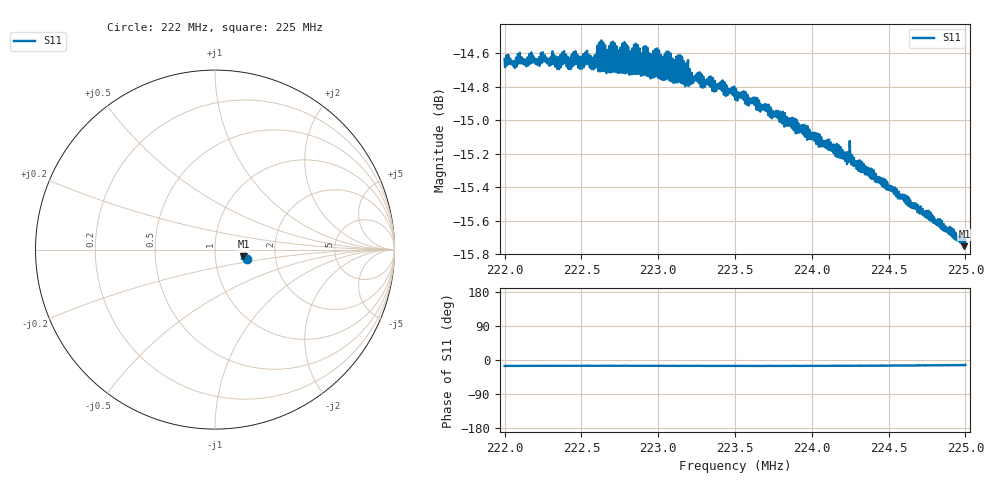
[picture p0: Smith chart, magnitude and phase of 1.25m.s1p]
! Calibrated averaged scanner-service zoom
# Hz S RI R 50
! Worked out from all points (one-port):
!   1001 points, 222 MHz to 225 MHz, reference 50 ohm
!   lowest |S11| = -15.8 dB at 224.99 MHz (marker M1), VSWR 1.39, Z = 68.6 - j5.29 ohm
!   |S11| at or under -10 dB: start of sweep to end of sweep
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2.22e8  0.1786 -0.05
2.22375e8  0.1797 -0.0491
2.22567e8  0.1776 -0.0486
2.22603e8  0.1798 -0.0493
2.22648e8  0.1774 -0.0487
2.22693e8  0.181 -0.0492
2.22699e8  0.1773 -0.0486
2.22705e8  0.1811 -0.0493
2.22711e8  0.1773 -0.0484
2.2275e8  0.1772 -0.0487
2.22843e8  0.1806 -0.0495
2.22849e8  0.177 -0.0487
2.22855e8  0.1807 -0.0497
2.22912e8  0.1769 -0.0487
2.2293e8  0.1801 -0.0499
2.22963e8  0.1765 -0.0487
2.22993e8  0.18 -0.05
2.23125e8  0.1758 -0.0488
2.23155e8  0.1788 -0.0501
2.23188e8  0.1755 -0.0487
2.235e8  0.1745 -0.0486
2.23875e8  0.1714 -0.0484
2.24169e8  0.1675 -0.046
2.2425e8  0.1676 -0.0461
2.24307e8  0.1661 -0.0451
2.24625e8  0.1625 -0.0414
2.24994e8  0.1587 -0.0375
2.25e8  0.1591 -0.0368
